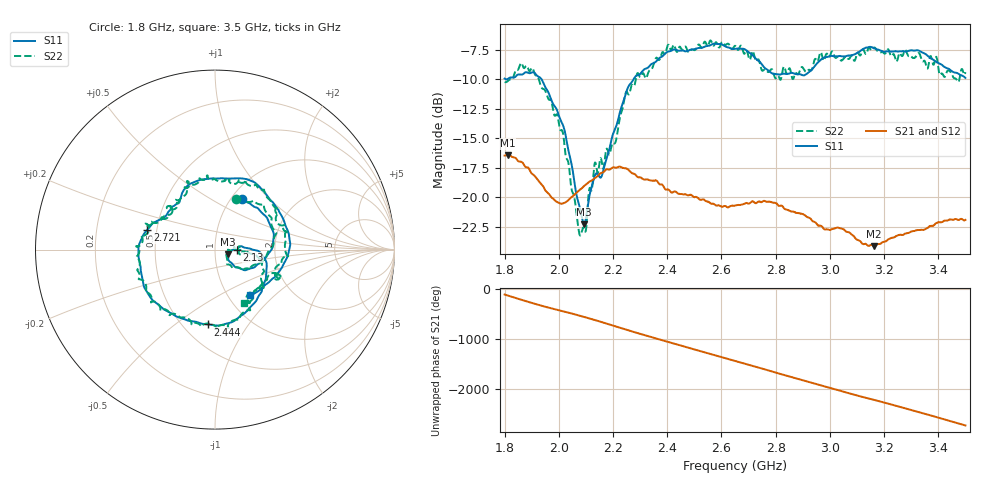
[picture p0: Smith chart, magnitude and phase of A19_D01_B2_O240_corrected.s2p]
! Created with skrf 1.9.0 (http://scikit-rf.org).
# Hz S RI R 50.0
!freq ReS11 ImS11 ReS21 ImS21 ReS12 ImS12 ReS22 ImS22
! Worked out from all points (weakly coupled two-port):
!   1601 points, 1.8 GHz to 3.5 GHz, reference 50 ohm
!   highest |S21| = -16.43 dB at 1.812 GHz (marker M1); lowest = -24.1 dB at 3.163 GHz (marker M2)
!   lowest |S11| = -22.3 dB at 2.093 GHz (marker M3), VSWR 1.17, Z = 57.7 - j2.95 ohm
!   |S11| at or under -10 dB: 1.937 GHz to 2.275 GHz (338.8 MHz wide, 16.1 % of centre)
!   |S22| runs from -23.2 to -6.7 dB; largest |S21 - S12| = 0.003
!   S11 on the Smith chart (normalised r, x): 1.8 GHz: 1.12, +0.70; 2.13 GHz: 1.28, +0.00; 2.444 GHz: 0.66, -0.67; 2.721 GHz: 0.44, +0.12; 3.5 GHz: 1.26, -0.71
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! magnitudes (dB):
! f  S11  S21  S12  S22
! 1.8 GHz  -9.9  -16.5  -16.5  -10.2
! 1.812 GHz  -10.0  -16.4  -16.4  -10.1
! 1.902 GHz  -9.4  -18.0  -18.0  -9.0
! 1.969 GHz  -11.5  -19.9  -19.9  -11.7
! 2.02 GHz  -14.2  -20.5  -20.5  -15.4
! 2.084 GHz  -21.5  -19.3  -19.2  -23.0
! 2.093 GHz  -22.3  -19.0  -19.1  -22.6
! 2.13 GHz  -18.3  -18.4  -18.4  -17.4
! 2.159 GHz  -18.1  -17.9  -17.9  -17.1
! 2.208 GHz  -14.2  -17.5  -17.5  -15.4
! 2.258 GHz  -10.6  -17.7  -17.7  -11.3
! 2.367 GHz  -8.3  -18.8  -18.7  -8.3
! 2.444 GHz  -7.6  -19.7  -19.7  -7.3
! 2.65 GHz  -7.4  -20.7  -20.7  -7.1
! 2.721 GHz  -8.1  -20.4  -20.4  -8.0
! 2.81 GHz  -9.6  -20.7  -20.6  -9.7
! 2.934 GHz  -9.2  -22.0  -22.0  -9.2
! 3.163 GHz  -7.3  -24.1  -24.1  -7.3
! 3.217 GHz  -7.6  -23.6  -23.5  -7.5
! 3.328 GHz  -7.6  -22.8  -22.8  -7.8
! 3.415 GHz  -8.8  -22.1  -22.1  -9.5
! 3.5 GHz  -9.9  -21.9  -21.9  -9.4
